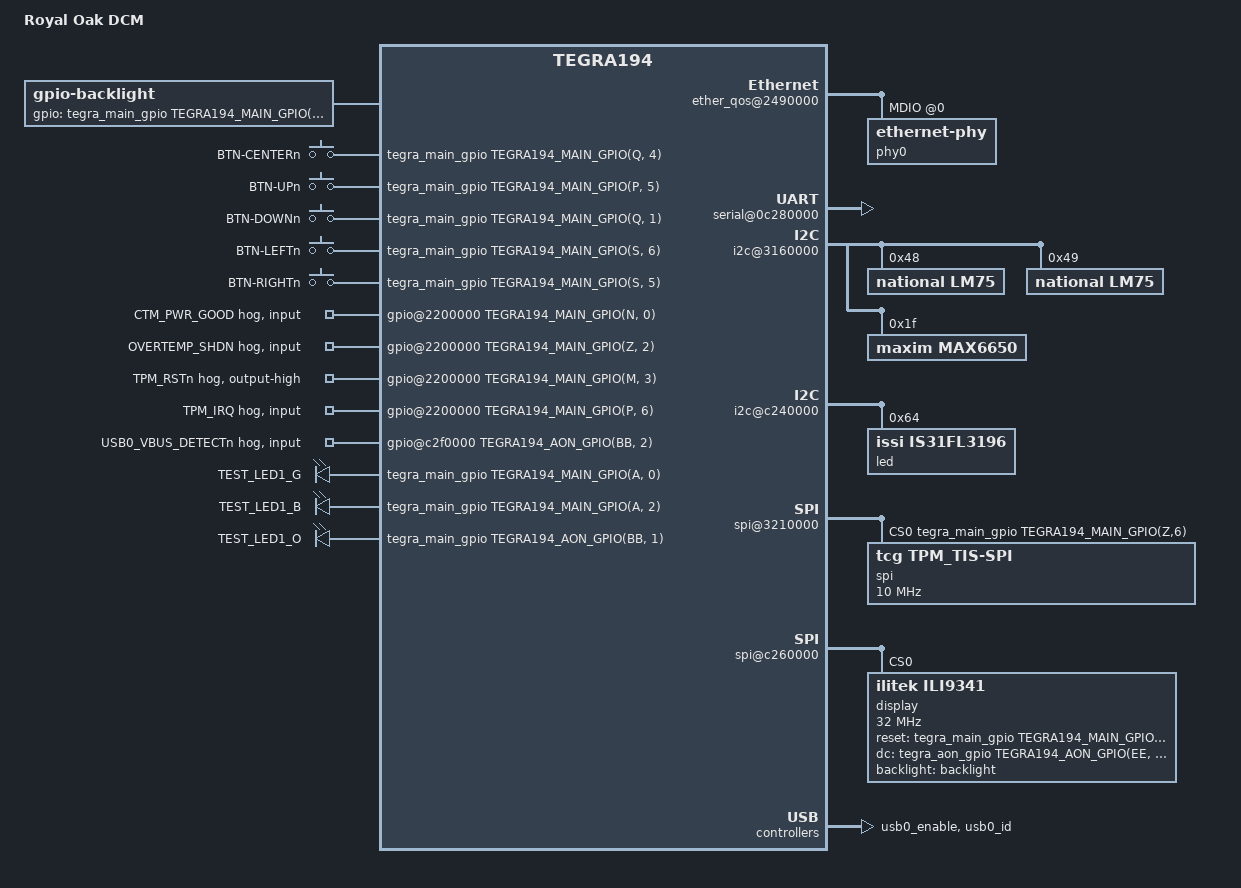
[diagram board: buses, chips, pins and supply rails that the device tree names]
/*
 * Copyright (c) 2020, Miovision.  All rights reserved.
 *
 * This program is free software; you can redistribute it and/or modify
 * it under the terms of the GNU General Public License as published by
 * the Free Software Foundation; version 2 of the License.
 *
 * This program is distributed in the hope that it will be useful, but WITHOUT
 * ANY WARRANTY; without even the implied warranty of MERCHANTABILITY or
 * FITNESS FOR A PARTICULAR PURPOSE.  See the GNU General Public License for
 * more details.
 */
#include "common/tegra194-p2888-0001-p2822-0000-common.dtsi"
#include <dt-bindings/gpio/tegra194-gpio.h>

/ {
    model = "Royal Oak DCM";
    compatible = "nvidia,jetson-xavier", "nvidia,tegra194";
    nvidia,dtsfilename = __FILE__;

    // Default boot ARGS
    chosen {
        bootargs ="console=ttyTCU0,115200";
        board-has-eeprom;
    };

    host1x {
        // Disable the display controllers
        nvdisplay@15200000{
            status = "disabled";
        };
        nvdisplay@15210000{
            status = "disabled";
        };
        nvdisplay@15220000 {
            status = "disabled";
        };
        vi@15c10000 {
            status = "disabled";
        };
        dpaux@155F0000 {
            status = "disabled";
        };
    };

    // Setup the phy to use micrel settings
    ether_qos@2490000 {
        mdio {
            status = "okay";
            phy0: ethernet-phy@0 {
                status = "okay";
                device_type = "ethernet-phy";
                micrel,copper-mode;
                micrel,reg-init = <2 8 0xfc1f 0x03e0>;
                rxc-skew-ps = <3000>;
                rxdv-skew-ps = <0>;
                txc-skew-ps = <3000>;
                txen-skew-ps = <0>;
            };
        };
    };

    // Disable the framebuffer memory reserve
    reserved-memory {
        fb0_reserved: fb0_carveout {
            status = "disabled";
        };
    };

    tegra_cec@3960000 {
        status = "disabled";
    };

    tegra_xudc: xudc@3550000 {
        status = "disabled";
    };

    tegra_xhci: xhci@3610000 {
        status = "disabled";
    };

    ufshci@2450000 {
        status = "disabled";
        /delete-property/ nvidia,cd-wakeup-capable;
        /delete-property/ nvidia,enable-hs-mode;
    };

    i2c@31e0000 {
        status = "disabled";
    };

    i2c@31c0000 {
        status = "disabled";
    };

    //*********************************************************************
    // Serial UART Setup
    //*********************************************************************
    // Xavier Module UART 3 -->  UART 1 (Debug Port)
    serial@0c280000 {
        compatible = "nvidia,tegra210-uart", "nvidia,tegra114-hsuart", "nvidia,tegra20-uart";
        console-port;
        sqa-automation-port;
        /delete-property/ resets;
        /delete-property/ reset-names;
        status = "okay";
    };

    // Xavier Module UART 0
    serial@3100000 {
        status = "disabled";
    };

    // Xavier Module UART 1
    serial@3110000 {
        status = "disabled";
    };

    // Xavier Module I2C-1 --> Tegra I2C2
    //		LM75 Temperature      0x48 (Ethernet Switch)
    //		LM75 Temperature      0x49 (+53 Power Module)
    //		MAX6650 AUX Fan       0x1F (Aux Fan)
    i2c@3160000 {
         status = "okay";

        lm75@48 {
            status= "okay";
            compatible = "national,lm75";
            reg = <0x48>;
        };

         lm75@49 {
            status= "okay";
            compatible = "national,lm75";
            reg = <0x49>;
        };

        max6650@1f {
            reg = <0x1f>;
            compatible = "maxim,max6650";
            maxim,fan-microvolt = <12000000>;
            maxim,fan-prescale = <4>;
            maxim,fan-target-rpm = <0>;
        };
    };

    // Xavier Module I2C-2 --> Pushbutton LED
    i2c@c240000 {
        status = "okay";

        ucsi_ccg@8 {
            status = "disabled";
        };

        /delete-node/ ucsi_ccg;

        led@64 {
            status= "okay";
            compatible = "issi,is31fl3196";
            led-max-microamp = <10000>;
            reg = <0x64>;

            led1: led@1 { //BR
                led-max-microamp = <10000>;
                label = "BTN_BOTTOM_RIGHT";
                reg = <1>;
            };
            led2: led@2 { // BL
                led-max-microamp = <10000>;
                label = "BTN_BOTTOM_LEFT";
                reg = <2>;
            };
            led3: led@3 { //TR
                led-max-microamp = <10000>;
                label = "BTN_TOP_RIGHT";
                reg = <3>;
            };
            led4: led@4 { //TL
                led-max-microamp = <10000>;
                label = "BTN_TOP_LEFT";
                reg = <4>;
            };
        };

    };

    //*********************************************************************
    // SPI Setup
    //
    // Notes:
    //		Xavier supports up to 65Mhz SPI clocks.
    //*********************************************************************
    // Xavier Module SPI 1--> Tegra SPI 1 (TPM)
    spi@3210000 {
        status = "okay";
        // Not actually 100% sure this does anything, it was suggested on the NVidia forums. The kernel doesn't
        // look for this, but possibly one of the boot loaders does. This is suppose to disable power management
        // on the interface.
        nvidia,disable-runtime-pm;

        // The PINMUX needed to be adjusted to put the CS line as a GPIO pin which is software controlled,
        // the hardware control was dropping the CS line between transactions resetting the TPM.
        cs-gpios = <&tegra_main_gpio TEGRA194_MAIN_GPIO(Z,6) GPIO_ACTIVE_HIGH>;

        spi@0 {
            reg = <0x0>;
            compatible = "tcg,tpm_tis-spi";
            spi-max-frequency = <10000000>;
            controller-data {
                // This setting along with the cs-gpios keeps the CS active during the full transaction.
                nvidia,clk-delay-between-packets = <0x1>;
            };
        };
    };

    // Delete this because it was using one of the GPIOs for the LCD
    /delete-node/ bluedroid_pm;

    backlight: backlight {
        compatible = "gpio-backlight";
        gpios = <&tegra_main_gpio TEGRA194_MAIN_GPIO(N, 1) GPIO_ACTIVE_HIGH>;
        default-on;
    };

    // Xavier Module SPI 2 --> Tegra SPI 2 (LCD, )
    spi@c260000 { // 3230000
        status = "okay";

        display@0 {
            #address-cells = <1>;
            #size-cells = <0>;
            compatible = "ilitek,ili9341";
            reg = <0x0>;

            spi-max-frequency = <32000000>;
	        reset-gpios =  <&tegra_main_gpio TEGRA194_MAIN_GPIO(M, 6) 0>;
            dc-gpios =  <&tegra_aon_gpio TEGRA194_AON_GPIO(EE, 0) GPIO_ACTIVE_HIGH>;
            backlight = <&backlight>;
            rotate = <270>;
            regwidth = <8>;
            buswidth = <8>;
            verbose = <3>;
        };
    };

    //*********************************************************************
    // GPIO Input Buttons, configured to trigger keyboard events.
    //*********************************************************************

   gpio-keys {
        compatible = "gpio-keys";
        gpio-keys,name = "gpio-keys";

        // BUT_CENTERn => GPIO18 => SOC_GPIO40 GPIO03 => P(Q,4) *
        button_center {
            label = "BTN-CENTERn";
            gpios = <&tegra_main_gpio TEGRA194_MAIN_GPIO(Q, 4) GPIO_ACTIVE_HIGH>;
            linux,code = <KEY_ENTER>;
        };

        // BUT_UPn => GPIO33 => SOC_GPIO05  GPIO3 => P(P,5) *
        button_up {
            label = "BTN-UPn";
            gpios = <&tegra_main_gpio TEGRA194_MAIN_GPIO(P, 5) GPIO_ACTIVE_HIGH>;
            linux,code = <KEY_UP>;
        };

        // BUT_DOWNn => GPIO17 => SOC_GPIO21 GPIO3 => P(Q,1) *
        button_down {
            label = "BTN-DOWNn";
            gpios = <&tegra_main_gpio TEGRA194_MAIN_GPIO(Q, 1) GPIO_ACTIVE_HIGH>;
            linux,code = <KEY_DOWN>;
        };

        // BUT_LEFTn => GPIO29 => SOC_GPIO31   GPIO3 => P(S,6) *
        button_left {
            label = "BTN-LEFTn";
            gpios = <&tegra_main_gpio TEGRA194_MAIN_GPIO(S, 6) GPIO_ACTIVE_HIGH>;
            linux,code = <KEY_LEFT>;
        };

        // BUT_RIGHTn => GPIO11 => SOC_GPIO30   GPIO3 => P(S,5) *
        button_right {
            label = "BTN-RIGHTn";
            gpios = <&tegra_main_gpio TEGRA194_MAIN_GPIO(S, 5) GPIO_ACTIVE_HIGH>;
            linux,code = <KEY_RIGHT>;
        };
    };

    // Deletes some nodes that we aren't using
#if TEGRA_XUSB_PADCONTROL_VERSION >= DT_VERSION_2
	xusb_padctl@3520000 {
		ports {
            /delete-node/ usb2-3;
        };
    };
#endif

	plugin-manager {
        /delete-node/ usb-vbus-en0-gpio-value;
    };

    fixed-regulators {
        /delete-node/ regulator@107;
        /delete-node/ regulator@114;
    };

    //*********************************************************************
    // GPIO Setup
    //*********************************************************************
    gpio@2200000 {
        /////////////////////////////////////
        // Delete unneeded GPIOs
        /////////////////////////////////////
        /delete-node/ pcie-reg-enable;
        /delete-node/ wifi-enable;

        /////////////////////////////////////
        // Input Power good
        /////////////////////////////////////
        // PM_CTM_PWR_GOOD => GPIO36 => SOC_GPIO53  => GPIO3 P(N,0) *
        ctm_pwr_good {
            status = "okay";
            input;
            gpio-hog;
            gpios = <TEGRA194_MAIN_GPIO(N, 0) GPIO_ACTIVE_HIGH>;
            line-name = "CTM_PWR_GOOD";
        };

        /////////////////////////////////////
        // Over Temp Shutdown
        /////////////////////////////////////
        // OVERTEMP_SHDN => GPIO23 => USB_VBUS_EN1  => GPIO3 P(Z,2) *
        overtemp_shdn {
            status = "okay";
            input;
            gpio-hog;
            gpios = <TEGRA194_MAIN_GPIO(Z, 2) GPIO_ACTIVE_HIGH>;
            line-name = "OVERTEMP_SHDN";
        };

        /////////////////////////////////////
        // USB
        /////////////////////////////////////
        // USB0_EN => GPIO22 => USB_VBUS_EN0  => GPIO3 P(Z,1) *

        usb0_enable {
            status = "okay";
            gpio-hog;
            output-low;
            gpios = <TEGRA194_MAIN_GPIO(Z, 1) GPIO_ACTIVE_HIGH>;
            line-name = "USB0_ENABLEn";
        };

        //USB_ID => GPIO30 => GPIO20 => GPIO3 P(Q,0) *
        usb0_id {
            status = "okay";
            input;
            gpio-hog;
            gpios = <TEGRA194_MAIN_GPIO(Q, 0) GPIO_ACTIVE_HIGH>;
            line-name = "USB0_ID";
        };

        // TPM_RSTn => GPIO24 => DP_AUX_CH3_HPD => GPIO3 P(M,3) *
        tpm_rst {
            status = "okay";
            gpio-hog;
            output-high;
            gpios = <TEGRA194_MAIN_GPIO(M, 3) GPIO_ACTIVE_HIGH>;
            line-name = "TPM_RSTn";
        };

        // TPM_IRQn => GPIO34 => SOC_GPIO06 => GPIO3 P(P,6) *
        tpm_irq {
            status = "okay";
            gpio-hog;
            input;
            gpios = <TEGRA194_MAIN_GPIO(P, 6) GPIO_ACTIVE_HIGH>;
            line-name = "TPM_IRQ";
        };

    };

    gpio@c2f0000 {
        //USB_VBUS_DET => GPIO10 => CAN1_WAKE => GPIO3 P(BB,2) *
        usb0_vbus_detect {
            status = "okay";
            input;
            gpio-hog;
            gpios = <TEGRA194_AON_GPIO(BB, 2) GPIO_ACTIVE_HIGH>;
            line-name = "USB0_VBUS_DETECTn";
        };
    };

    /////////////////////////////////////
    // Output Test LEDs
    /////////////////////////////////////

    leds {
        status = "okay";
        compatible = "gpio-leds";

        //TEST_LED1_G => GPIO_21  3.3v
        //GPIO_21 => DAP6_SCLK GPIO3 => P(A,0) *
        test_led_g {
            label = "TEST_LED1_G";
            gpios = <&tegra_main_gpio TEGRA194_MAIN_GPIO(A, 0) GPIO_ACTIVE_HIGH>;
            default-state = "off";
            linux,default-trigger = "none";
        };

        //TEST_LED1_B => GPIO 04  3.3v
        //GPIO_04 => DAP6_DIN GPIO3 => P(A,02) *
        test_led_b {
            label = "TEST_LED1_B";
            gpios = <&tegra_main_gpio TEGRA194_MAIN_GPIO(A, 2) GPIO_ACTIVE_HIGH>;
            default-state = "off";
            linux,default-trigger = "none";
        };

        //TEST_LED1_O => GPIO 09  3.3v
        //GPIO_09 => CAN1_EN GPIO3 => P(BB,1) *
        test_led_o {
            label = "TEST_LED1_O";
            gpios = <&tegra_main_gpio TEGRA194_AON_GPIO(BB, 1) GPIO_ACTIVE_HIGH>;
            default-state = "off";
            linux,default-trigger = "none";
        };
     };
};
